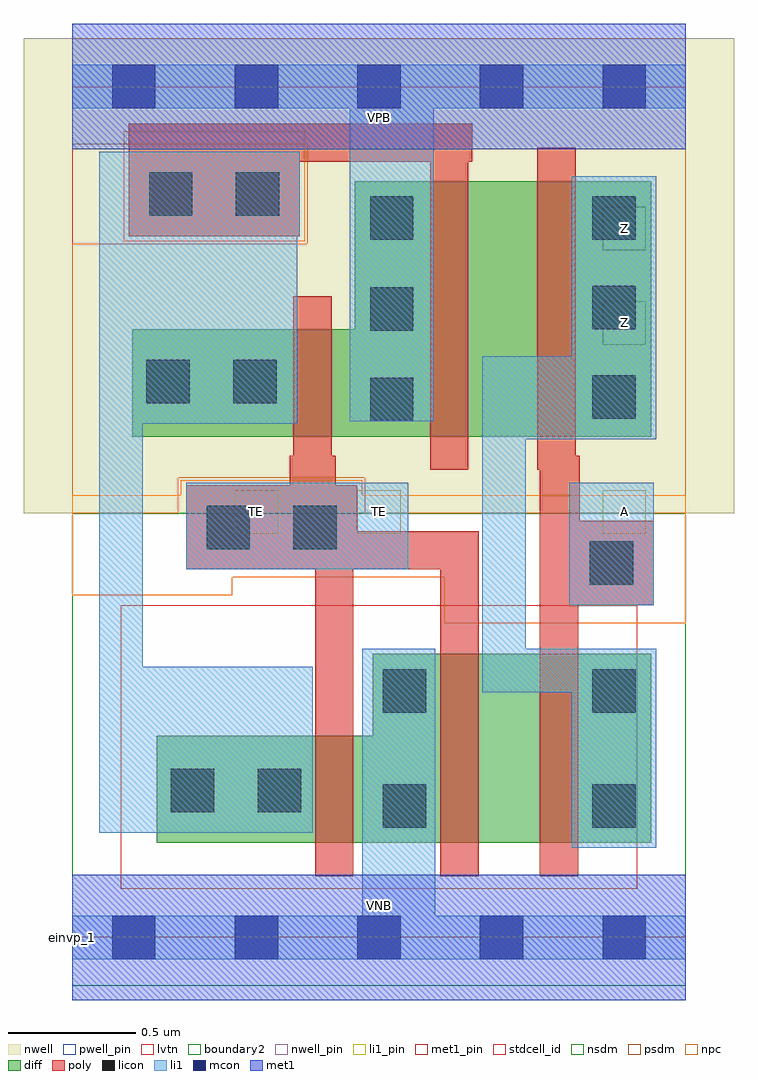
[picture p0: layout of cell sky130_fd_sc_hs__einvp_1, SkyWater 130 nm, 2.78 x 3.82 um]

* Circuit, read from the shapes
.subckt sky130_fd_sc_hs__einvp_1 A TE VGND VNB VPB VPWR Z
XM1 VGND TE n1 VNB sky130_fd_pr__nfet_01v8_lvt w=0.42 l=0.15
XM2 n2 TE VGND VNB sky130_fd_pr__nfet_01v8_lvt w=0.74 l=0.15
XM3 Z A n2 VNB sky130_fd_pr__nfet_01v8_lvt w=0.74 l=0.15
XM4 VPWR TE n1 VPB sky130_fd_pr__pfet_01v8 w=0.42 l=0.15
XM5 n3 n1 VPWR VPB sky130_fd_pr__pfet_01v8 w=1 l=0.15
XM6 Z A n3 VPB sky130_fd_pr__pfet_01v8 w=1 l=0.15
.ends

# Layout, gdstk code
import gdstk
lib = gdstk.Library(unit=1e-6, precision=1e-09)
def R(c, l, rs):  # rectangles x0, y0, x1, y1
    for r in rs: c.add(gdstk.rectangle(r[:2], r[2:], *l))
def A(c, l, x, y, w, h, nx, ny, dx, dy):  # array of equal rectangles
    R(c, l, [(x+i*dx, y+j*dy, x+i*dx+w, y+j*dy+h) for i in range(nx) for j in range(ny)])
def P(c, l, *ps):  # polygons
    for p in ps: c.add(gdstk.Polygon(p, *l))
nwell_pin = (64, 16)
nwell = (64, 20)
diff = (65, 20)
poly = (66, 20)
licon = (66, 44)
li1_pin = (67, 16)
li1 = (67, 20)
mcon = (67, 44)
met1_pin = (68, 16)
met1 = (68, 20)
stdcell_id = (81, 4)
nsdm = (93, 44)
psdm = (94, 20)
npc = (95, 20)
pwell_pin = (122, 16)
lvtn = (125, 44)
boundary2 = (236, 0)

sky130_fd_sc_hs__einvp_1 = lib.new_cell('sky130_fd_sc_hs__einvp_1')
R(sky130_fd_sc_hs__einvp_1, nwell_pin, [(0,3.085,2.4,3.33)])
R(sky130_fd_sc_hs__einvp_1, nwell, [(-0.19,1.66,2.59,3.52)])
P(sky130_fd_sc_hs__einvp_1, diff, [(2.265,2.96),(1.105,2.96),(1.105,2.38),(0.235,2.38),(0.235,1.96),(2.265,1.96)],
  [(2.265,1.11),(1.175,1.11),(1.175,0.79),(0.33,0.79),(0.33,0.37),(2.265,0.37)])
P(sky130_fd_sc_hs__einvp_1, poly, [(2.275,1.63),(1.985,1.63),(1.985,1.885),(1.97,1.885),(1.97,3.09),(1.82,3.09),(1.82,1.83),(1.83,1.83),(1.83,0.24),(1.98,0.24),(1.98,1.3),(2.275,1.3)],
  [(1.59,1.59),(1.115,1.59),(1.115,1.77),(1.03,1.77),(1.03,1.885),(1.015,1.885),(1.015,2.51),(0.865,2.51),(0.865,1.885),(0.85,1.885),(0.85,1.77),(0.445,1.77),(0.445,1.44),(0.95,1.44),(0.95,0.24),(1.1,0.24),(1.1,1.44),(1.44,1.44),(1.44,0.24),(1.59,0.24)],
  [(1.565,3.185),(0.22,3.185),(0.22,2.745),(0.89,2.745),(0.89,3.035),(1.4,3.035),(1.4,1.83),(1.55,1.83),(1.55,3.035),(1.565,3.035)])
A(sky130_fd_sc_hs__einvp_1, licon, 1.165, 2.02, 0.17, 0.17, 1, 3, 0, 0.355)
A(sky130_fd_sc_hs__einvp_1, licon, 2.035, 2.03, 0.17, 0.17, 1, 3, 0, 0.35)
R(sky130_fd_sc_hs__einvp_1, licon, [(1.215,0.43,1.385,0.6), (2.035,0.43,2.205,0.6), (0.385,0.49,0.555,0.66), (0.725,0.49,0.895,0.66), (1.215,0.88,1.385,1.05), (2.035,0.88,2.205,1.05), (2.025,1.38,2.195,1.55), (0.525,1.52,0.695,1.69), (0.865,1.52,1.035,1.69), (0.29,2.09,0.46,2.26), (0.63,2.09,0.8,2.26), (0.3,2.825,0.47,2.995), (0.64,2.825,0.81,2.995)])
R(sky130_fd_sc_hs__einvp_1, li1_pin, [(0.635,1.58,0.805,1.75), (1.115,1.58,1.285,1.75), (2.075,1.58,2.245,1.75), (2.075,2.32,2.245,2.49), (2.075,2.69,2.245,2.86)])
R(sky130_fd_sc_hs__einvp_1, li1, [(1.945,1.3,2.275,1.78), (0.445,1.44,1.315,1.78)])
P(sky130_fd_sc_hs__einvp_1, li1, [(1.085,2.02),(1.085,3.245),(0,3.245),(0,3.415),(2.4,3.415),(2.4,3.245),(1.415,3.245),(1.415,2.02)],
  [(1.135,0.085),(1.135,1.13),(1.42,1.13),(1.42,0.085),(2.4,0.085),(2.4,-0.085),(0,-0.085),(0,0.085)],
  [(2.285,1.13),(1.775,1.13),(1.775,1.95),(2.285,1.95),(2.285,2.98),(1.955,2.98),(1.955,2.275),(1.605,2.275),(1.605,0.96),(1.955,0.96),(1.955,0.35),(2.285,0.35)],
  [(0.105,3.075),(0.89,3.075),(0.89,2.745),(0.88,2.745),(0.88,2.01),(0.275,2.01),(0.275,1.06),(0.94,1.06),(0.94,0.41),(0.105,0.41)])
A(sky130_fd_sc_hs__einvp_1, mcon, 0.155, -0.085, 0.17, 0.17, 5, 2, 0.48, 3.33)
R(sky130_fd_sc_hs__einvp_1, met1_pin, [(0,0,2.4,0.245), (0,3.085,2.4,3.33)])
R(sky130_fd_sc_hs__einvp_1, met1, [(0,-0.245,2.4,0.245), (0,3.085,2.4,3.575)])
R(sky130_fd_sc_hs__einvp_1, stdcell_id, [(0,0,2.4,3.33)])
R(sky130_fd_sc_hs__einvp_1, nsdm, [(0,-0.19,2.4,1.66)])
P(sky130_fd_sc_hs__einvp_1, psdm, [(2.4,3.52),(0,3.52),(0,3.105),(0.92,3.105),(0.92,2.715),(0,2.715),(0,1.66),(0.415,1.66),(0.415,1.8),(1.145,1.8),(1.145,1.66),(2.4,1.66)])
R(sky130_fd_sc_hs__einvp_1, npc, [(0.2,2.725,0.91,3.155)])
P(sky130_fd_sc_hs__einvp_1, npc, [(2.4,1.73),(1.135,1.73),(1.135,1.79),(0.425,1.79),(0.425,1.73),(0,1.73),(0,1.34),(0.625,1.34),(0.625,1.41),(1.455,1.41),(1.455,1.23),(2.4,1.23)])
R(sky130_fd_sc_hs__einvp_1, pwell_pin, [(0,0,2.4,0.245)])
R(sky130_fd_sc_hs__einvp_1, lvtn, [(0.19,0.19,2.21,1.3)])
R(sky130_fd_sc_hs__einvp_1, boundary2, [(0,0,2.4,3.33)])
sky130_fd_sc_hs__einvp_1.add(gdstk.Label('einvp_1', (0,0), layer=83, texttype=44))
sky130_fd_sc_hs__einvp_1.add(gdstk.Label('VNB', (1.2,0.123), layer=64, texttype=59))
sky130_fd_sc_hs__einvp_1.add(gdstk.Label('VPB', (1.2,3.208), layer=64, texttype=5))
sky130_fd_sc_hs__einvp_1.add(gdstk.Label('VPWR', (1.2,3.208), layer=68, texttype=5))
sky130_fd_sc_hs__einvp_1.add(gdstk.Label('VGND', (1.2,0.123), layer=68, texttype=5))
sky130_fd_sc_hs__einvp_1.add(gdstk.Label('TE', (0.72,1.665), layer=67, texttype=5))
sky130_fd_sc_hs__einvp_1.add(gdstk.Label('TE', (1.2,1.665), layer=67, texttype=5))
sky130_fd_sc_hs__einvp_1.add(gdstk.Label('Z', (2.16,2.405), layer=67, texttype=5))
sky130_fd_sc_hs__einvp_1.add(gdstk.Label('Z', (2.16,2.775), layer=67, texttype=5))
sky130_fd_sc_hs__einvp_1.add(gdstk.Label('A', (2.16,1.665), layer=67, texttype=5))

lib.write_gds('sky130_fd_sc_hs__einvp_1.gds')
